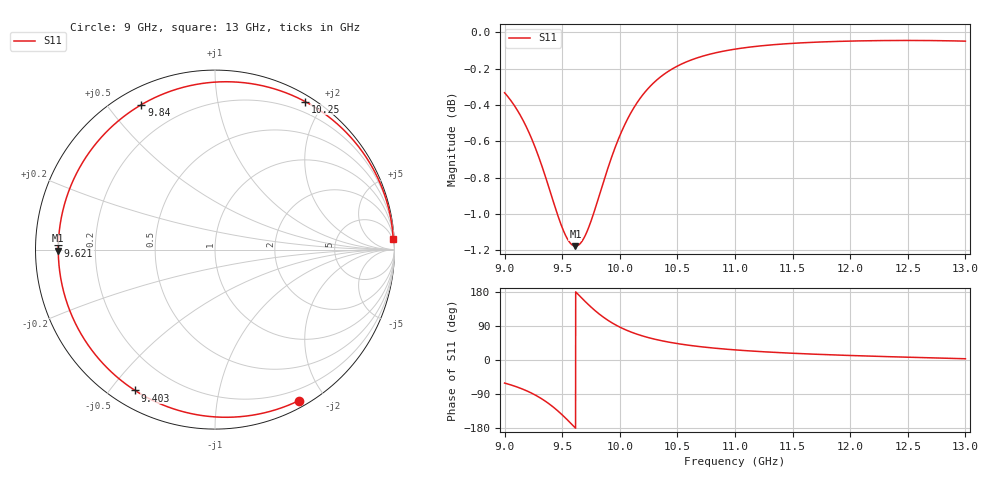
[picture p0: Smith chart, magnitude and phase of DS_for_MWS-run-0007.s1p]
! TOUCHSTONE file generated by CST DESIGN STUDIO
! Date and time: Tue Feb  4 18:30:40 2025
! Project name: C:\Work\MatlabApps\UnitCellOptimizationMatlab\CST\unitcell.cst
! Tree item: Tasks\Sweep1\SPara1\S-Parameters
! Header version: 2024
! Port assignment regex: !\s*Touchstone port\s*([0-9]+)\s*=\s*(CST MWS port|CST DES external port|CST DES block port)\s*(.+)\s* \(\"(.*)\"\)(\s*mode\s*([0-9]+))?.*
! Touchstone port assignment:
! Touchstone port 1 = CST DES external port 1 ("")
# GHz S MA R 50
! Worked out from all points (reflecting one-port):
!   4001 points, 9 GHz to 13 GHz, reference 50 ohm
!   lowest |S11| = -1.2 dB at 9.615 GHz (marker M1), VSWR 14.78, Z = 3.38 - j0.164 ohm
!   phase of S11 starts at -61 deg and turns -296 deg over the sweep
!   S11 on the Smith chart (normalised r, x): 9 GHz: 0.07, -1.70; 9.403 GHz: 0.07, -0.58; 9.621 GHz: 0.07, +0.01; 9.84 GHz: 0.07, +0.61; 10.25 GHz: 0.07, +1.78; 13 GHz: 3, +34
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9  0.9625 -60.9
9.052  0.9579 -65.5
9.124  0.9503 -73.0
9.187  0.9421 -80.7
9.248  0.9326 -89.6
9.331  0.9173 -104.1
9.403  0.9024 -119.6
9.452  0.8924 -131.7
9.5  0.8836 -144.8
9.56  0.8758 -162.5
9.615  0.8732 -179.6
9.621  0.8733 178.5
9.677  0.8765 161.1
9.739  0.8852 142.9
9.789  0.8949 129.4
9.84  0.9056 116.9
9.914  0.921 101.4
10  0.9366 86.8
10.12  0.9531 71.2
10.253  0.9656 58.7
10.368  0.973 50.5
10.5  0.9789 43.3
10.72  0.9851 34.4
11  0.9895 26.7
11.5  0.9931 17.8
12  0.9945 11.9
12.5  0.9949 7.3
13  0.9945 3.3
